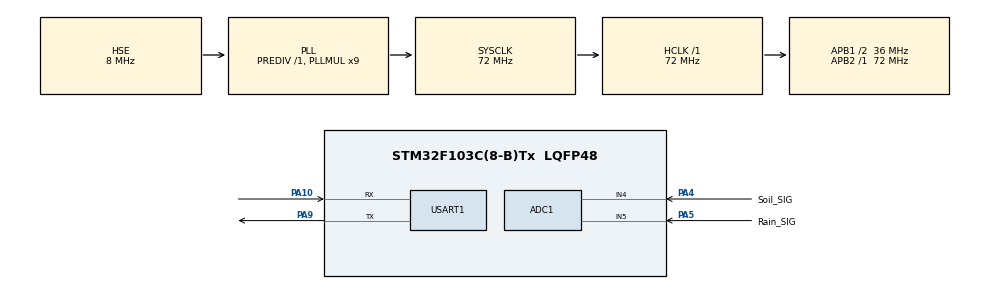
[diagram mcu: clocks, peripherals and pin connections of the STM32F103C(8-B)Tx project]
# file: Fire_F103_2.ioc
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ADC1.Channel-0\#ChannelRegularConversion=ADC_CHANNEL_4
ADC1.Channel-1\#ChannelInjectedConversion=ADC_CHANNEL_5
ADC1.EnableInjectedConversion=ENABLE
ADC1.InjNumberOfConversion=1
ADC1.InjectedOffset-1\#ChannelInjectedConversion=0
ADC1.InjectedRank-1\#ChannelInjectedConversion=1
ADC1.NbrOfConversionFlag=1
ADC1.Rank-0\#ChannelRegularConversion=1
ADC1.SamplingTime-0\#ChannelRegularConversion=ADC_SAMPLETIME_1CYCLE_5
ADC1.SamplingTime-1\#ChannelInjectedConversion=ADC_SAMPLETIME_1CYCLE_5
ADC1.master=1
Mcu.Family=STM32F1
Mcu.Name=STM32F103C(8-B)Tx
Mcu.Package=LQFP48
NVIC.ADC1_2_IRQn=true\:0\:0\:false\:false\:true\:true\:true\:true
NVIC.PriorityGroup=NVIC_PRIORITYGROUP_4
PA10.Mode=Asynchronous
PA10.Signal=USART1_RX
PA13.Mode=Serial_Wire
PA13.Signal=SYS_JTMS-SWDIO
PA14.Mode=Serial_Wire
PA14.Signal=SYS_JTCK-SWCLK
PA4.GPIO_Label=Soil_SIG
PA4.Signal=ADCx_IN4
PA5.GPIO_Label=Rain_SIG
PA5.Signal=ADCx_IN5
PA9.Mode=Asynchronous
PA9.Signal=USART1_TX
PC14-OSC32_IN.Mode=LSE-External-Oscillator
PC14-OSC32_IN.Signal=RCC_OSC32_IN
PC15-OSC32_OUT.Mode=LSE-External-Oscillator
PC15-OSC32_OUT.Signal=RCC_OSC32_OUT
PD0-OSC_IN.Mode=HSE-External-Oscillator
PD0-OSC_IN.Signal=RCC_OSC_IN
PD1-OSC_OUT.Mode=HSE-External-Oscillator
PD1-OSC_OUT.Signal=RCC_OSC_OUT
ProjectManager.HeapSize=0x200
ProjectManager.StackSize=0x400
ProjectManager.TargetToolchain=MDK-ARM V5.32
RCC.ADCPresc=RCC_ADCPCLK2_DIV6
RCC.AHBFreq_Value=72000000
RCC.APB1CLKDivider=RCC_HCLK_DIV2
RCC.APB1Freq_Value=36000000
RCC.APB1TimFreq_Value=72000000
RCC.APB2Freq_Value=72000000
RCC.APB2TimFreq_Value=72000000
RCC.HCLKFreq_Value=72000000
RCC.PLLMUL=RCC_PLL_MUL9
RCC.PLLSourceVirtual=RCC_PLLSOURCE_HSE
RCC.SYSCLKFreq_VALUE=72000000
RCC.SYSCLKSource=RCC_SYSCLKSOURCE_PLLCLK
RCC.USBFreq_Value=72000000
SH.ADCx_IN4.0=ADC1_IN4,IN4
SH.ADCx_IN5.0=ADC1_IN5,IN5
USART1.VirtualMode=VM_ASYNC
board=custom

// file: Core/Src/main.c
/* USER CODE BEGIN Header */
/**
  ******************************************************************************
  * @file           : main.c
  * @brief          : Main program body
  ******************************************************************************
  * @attention
  *
  * Copyright (c) 2026 STMicroelectronics.
  * All rights reserved.
  *
  * This software is licensed under terms that can be found in the LICENSE file
  * in the root directory of this software component.
  * If no LICENSE file comes with this software, it is provided AS-IS.
  *
  ******************************************************************************
  */
/* USER CODE END Header */
#include "main.h"
#include "adc.h"
#include "usart.h"
#include "gpio.h"

/* USER CODE BEGIN Includes */
#include <stdio.h>
/* USER CODE END Includes */

/* USER CODE BEGIN PV */

uint32_t  adc_val[2];//存储传感器ADC数值
float voltage[2];//存储传感器ADC电压

/* USER CODE END PV */

void SystemClock_Config(void);

int main(void)
{

  /* MCU Configuration--------------------------------------------------------*/

  /* Reset of all peripherals, Initializes the Flash interface and the Systick. */
  HAL_Init();

  /* Configure the system clock */
  SystemClock_Config();

  /* Initialize all configured peripherals */
  MX_GPIO_Init();
  MX_ADC1_Init();
  MX_USART1_UART_Init();
  /* USER CODE BEGIN 2 */
	HAL_ADCEx_Calibration_Start(&hadc1);//ADC校准

  /* USER CODE END 2 */

  /* Infinite loop */
  /* USER CODE BEGIN WHILE */
  while (1)
  {
		HAL_ADC_Start_IT(&hadc1);//启用一次中断读取ADC
		HAL_ADCEx_InjectedStart_IT(&hadc1);//启用一次中断读取注入通道ADC

		HAL_Delay(500);//每500ms读取一次
		voltage[0]=(float)adc_val[0]/ 4095* 3.3f;
		voltage[1]=(float)adc_val[1]/ 4095* 3.3f;
		printf("\r\n土壤湿度传感器（规则通道IN4）:%.3fV, 雨量传感器（注入通道IN5）:%.3fV\r\n",
		voltage[0],voltage[1]);

    /* USER CODE END WHILE */

  }
}

void SystemClock_Config(void)
{
  RCC_OscInitTypeDef RCC_OscInitStruct = {0};
  RCC_ClkInitTypeDef RCC_ClkInitStruct = {0};
  RCC_PeriphCLKInitTypeDef PeriphClkInit = {0};

  /** Initializes the RCC Oscillators according to the specified parameters
  * in the RCC_OscInitTypeDef structure.
  */
  RCC_OscInitStruct.OscillatorType = RCC_OSCILLATORTYPE_HSE;
  RCC_OscInitStruct.HSEState = RCC_HSE_ON;
  RCC_OscInitStruct.HSEPredivValue = RCC_HSE_PREDIV_DIV1;
  RCC_OscInitStruct.HSIState = RCC_HSI_ON;
  RCC_OscInitStruct.PLL.PLLState = RCC_PLL_ON;
  RCC_OscInitStruct.PLL.PLLSource = RCC_PLLSOURCE_HSE;
  RCC_OscInitStruct.PLL.PLLMUL = RCC_PLL_MUL9;
  if (HAL_RCC_OscConfig(&RCC_OscInitStruct) != HAL_OK)
  {
    Error_Handler();
  }

  /** Initializes the CPU, AHB and APB buses clocks
  */
  RCC_ClkInitStruct.ClockType = RCC_CLOCKTYPE_HCLK|RCC_CLOCKTYPE_SYSCLK
                              |RCC_CLOCKTYPE_PCLK1|RCC_CLOCKTYPE_PCLK2;
  RCC_ClkInitStruct.SYSCLKSource = RCC_SYSCLKSOURCE_PLLCLK;
  RCC_ClkInitStruct.AHBCLKDivider = RCC_SYSCLK_DIV1;
  RCC_ClkInitStruct.APB1CLKDivider = RCC_HCLK_DIV2;
  RCC_ClkInitStruct.APB2CLKDivider = RCC_HCLK_DIV1;

  if (HAL_RCC_ClockConfig(&RCC_ClkInitStruct, FLASH_LATENCY_2) != HAL_OK)
  {
    Error_Handler();
  }
  PeriphClkInit.PeriphClockSelection = RCC_PERIPHCLK_ADC;
  PeriphClkInit.AdcClockSelection = RCC_ADCPCLK2_DIV6;
  if (HAL_RCCEx_PeriphCLKConfig(&PeriphClkInit) != HAL_OK)
  {
    Error_Handler();
  }
}

/* USER CODE BEGIN 4 */

void HAL_ADC_ConvCpltCallback(ADC_HandleTypeDef* hadc)
{
	if(hadc->Instance==ADC1)
	{
		//读取ADC1的转换结果并保存
		adc_val[0]=HAL_ADC_GetValue(hadc);

	}
}
void HAL_ADCEx_InjectedConvCpltCallback(ADC_HandleTypeDef* hadc)
{
	if(hadc->Instance==ADC1)
	{
		//读取ADC1的转换结果并保存
		adc_val[1]=HAL_ADCEx_InjectedGetValue(hadc,ADC_INJECTED_RANK_1);

	}
}

int fputc(int ch,FILE*f)
{
	HAL_UART_Transmit(&huart1,(uint8_t*)&ch,1,HAL_MAX_DELAY);
	return ch;

}

/* USER CODE END 4 */

void Error_Handler(void)
{
  __disable_irq();
  while (1)
  {
  }
}
